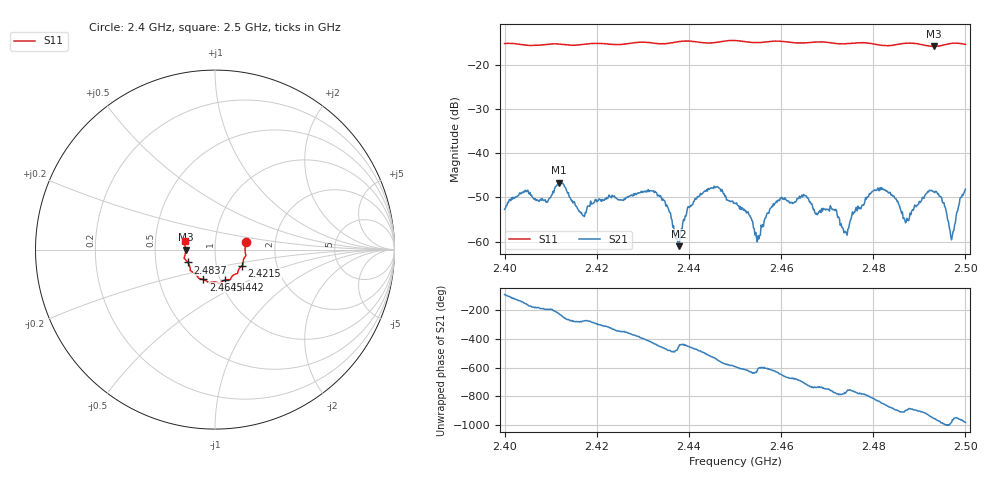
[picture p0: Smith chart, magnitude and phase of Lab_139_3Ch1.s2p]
# Hz S RI R 50
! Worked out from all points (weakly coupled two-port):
!   601 points, 2.4 GHz to 2.5 GHz, reference 50 ohm
!   highest |S21| = -46.67 dB at 2.4118 GHz (marker M1); lowest = -61.0 dB at 2.4378 GHz (marker M2)
!   lowest |S11| = -15.7 dB at 2.4932 GHz (marker M3), VSWR 1.39, Z = 35.9 - j0.0581 ohm
!   |S11| at or under -10 dB: start of sweep to end of sweep
!   S12 and S22 are empty: the file has one direction only
!   S11 on the Smith chart (normalised r, x): 2.4 GHz: 1.41, +0.12; 2.4215 GHz: 1.33, -0.25; 2.4442 GHz: 1.05, -0.37; 2.4645 GHz: 0.83, -0.29; 2.4837 GHz: 0.73, -0.11; 2.5 GHz: 0.71, +0.07
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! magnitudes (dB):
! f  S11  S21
! 2.4 GHz  -15.1  -52.7
! 2.4118 GHz  -15.2  -46.7
! 2.4167 GHz  -15.3  -53.4
! 2.4215 GHz  -15.1  -50.6
! 2.4333 GHz  -15.1  -49.6
! 2.4378 GHz  -14.6  -61.0
! 2.44 GHz  -14.5  -52.2
! 2.4442 GHz  -15.0  -47.9
! 2.45 GHz  -14.4  -51.3
! 2.455 GHz  -14.9  -58.7
! 2.4588 GHz  -14.5  -51.2
! 2.4645 GHz  -15.0  -49.5
! 2.4667 GHz  -14.8  -51.4
! 2.4715 GHz  -15.0  -52.7
! 2.474 GHz  -15.1  -57.7
! 2.4797 GHz  -15.1  -48.7
! 2.4833 GHz  -15.6  -49.0
! 2.4837 GHz  -15.5  -48.8
! 2.4873 GHz  -15.0  -54.8
! 2.4932 GHz  -15.7  -48.7
! 2.497 GHz  -15.0  -59.6
! 2.5 GHz  -15.3  -48.1
